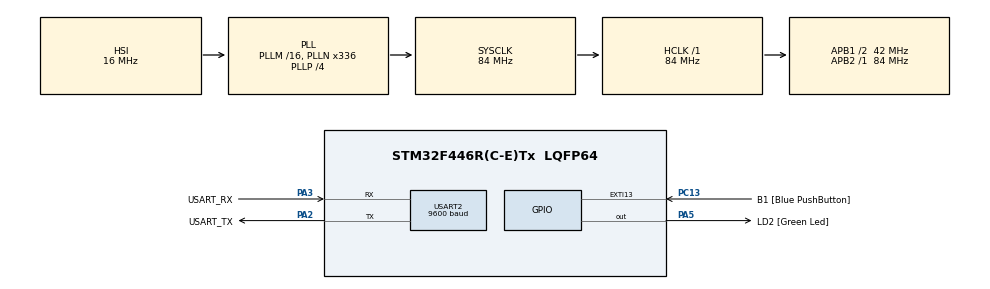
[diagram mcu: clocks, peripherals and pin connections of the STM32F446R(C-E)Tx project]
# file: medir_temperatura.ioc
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ADC1.Channel-0\#ChannelRegularConversion=ADC_CHANNEL_TEMPSENSOR
ADC1.NbrOfConversionFlag=1
ADC1.Rank-0\#ChannelRegularConversion=1
ADC1.SamplingTime-0\#ChannelRegularConversion=ADC_SAMPLETIME_3CYCLES
ADC1.master=1
FREERTOS.Tasks01=defaultTask,24,128,StartDefaultTask,Default,NULL,Dynamic,NULL,NULL
Mcu.Family=STM32F4
Mcu.Name=STM32F446R(C-E)Tx
Mcu.Package=LQFP64
NVIC.ADC_IRQn=true\:5\:0\:false\:false\:true\:true\:true\:true\:true
NVIC.PriorityGroup=NVIC_PRIORITYGROUP_4
NVIC.TIM1_UP_TIM10_IRQn=true\:15\:0\:false\:false\:true\:false\:false\:true\:true
NVIC.TimeBase=TIM1_UP_TIM10_IRQn
NVIC.TimeBaseIP=TIM1
NVIC.USART2_IRQn=true\:5\:0\:false\:false\:true\:true\:true\:true\:true
PA13.GPIO_Label=TMS
PA13.Mode=Serial_Wire
PA13.Signal=SYS_JTMS-SWDIO
PA14.GPIO_Label=TCK
PA14.Mode=Serial_Wire
PA14.Signal=SYS_JTCK-SWCLK
PA2.GPIO_Label=USART_TX
PA2.Mode=Asynchronous
PA2.Signal=USART2_TX
PA3.GPIO_Label=USART_RX
PA3.Mode=Asynchronous
PA3.Signal=USART2_RX
PA5.GPIO_Label=LD2 [Green Led]
PA5.Signal=GPIO_Output
PB3.GPIO_Label=SWO
PB3.Signal=SYS_JTDO-SWO
PC13.GPIO_Label=B1 [Blue PushButton]
PC13.GPIO_ModeDefaultEXTI=GPIO_MODE_IT_FALLING
PC13.Signal=GPXTI13
PC14-OSC32_IN.Mode=LSE-External-Oscillator
PC14-OSC32_IN.Signal=RCC_OSC32_IN
PC15-OSC32_OUT.Mode=LSE-External-Oscillator
PC15-OSC32_OUT.Signal=RCC_OSC32_OUT
PH0-OSC_IN.Mode=HSE-External-Oscillator
PH0-OSC_IN.Signal=RCC_OSC_IN
PH1-OSC_OUT.Mode=HSE-External-Oscillator
PH1-OSC_OUT.Signal=RCC_OSC_OUT
ProjectManager.HeapSize=0x200
ProjectManager.StackSize=0x400
ProjectManager.TargetToolchain=STM32CubeIDE
RCC.48MHZClocksFreq_Value=84000000
RCC.AHBFreq_Value=84000000
RCC.APB1CLKDivider=RCC_HCLK_DIV2
RCC.APB1Freq_Value=42000000
RCC.APB1TimFreq_Value=84000000
RCC.APB2Freq_Value=84000000
RCC.APB2TimFreq_Value=84000000
RCC.CortexFreq_Value=84000000
RCC.FLatency-AdvancedSettings=FLASH_LATENCY_2
RCC.HCLKFreq_Value=84000000
RCC.HSE_VALUE=8000000
RCC.HSI_VALUE=16000000
RCC.PLLN=336
RCC.PLLP=RCC_PLLP_DIV4
RCC.SYSCLKFreq_VALUE=84000000
RCC.SYSCLKSource=RCC_SYSCLKSOURCE_PLLCLK
RCC.USBFreq_Value=168000000
RCC.VCOOutputFreq_Value=336000000
USART2.BaudRate=9600
USART2.VirtualMode=VM_ASYNC
VP_ADC1_TempSens_Input.Mode=IN-TempSens
VP_FREERTOS_VS_CMSIS_V2.Mode=CMSIS_V2
VP_SYS_VS_tim1.Mode=TIM1
board=NUCLEO-F446RE

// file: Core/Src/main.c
/* USER CODE BEGIN Header */
/**
 ******************************************************************************
 * @file           : main.c
 * @brief          : Main program body
 ******************************************************************************
 * @attention
 *
 * Copyright (c) 2026 STMicroelectronics.
 * All rights reserved.
 *
 * This software is licensed under terms that can be found in the LICENSE file
 * in the root directory of this software component.
 * If no LICENSE file comes with this software, it is provided AS-IS.
 *
 ******************************************************************************
 */
/* USER CODE END Header */
#include "main.h"
#include "cmsis_os.h"

/* USER CODE BEGIN Includes */
#include <stdio.h>
#include <string.h>

#include "FreeRTOS.h"
#include "task.h"
#include "queue.h"
#include "semphr.h"
/* USER CODE END Includes */

/* USER CODE BEGIN PD */
#define LEN_COLA_MSG      (64)
#define TAMANIO_MSG_TXT   (24) // Espacio para "XX.X grados\r\n\0"
/* USER CODE END PD */

ADC_HandleTypeDef hadc1;
UART_HandleTypeDef huart2;

/* Definitions for defaultTask */
osThreadId_t defaultTaskHandle;
const osThreadAttr_t defaultTask_attributes = { .name = "defaultTask",
		.stack_size = 128 * 4, .priority = (osPriority_t) osPriorityNormal, };
/* USER CODE BEGIN PV */
/* Handles de FreeRTOS para el diseño determinístico */
TaskHandle_t xTaskProcesamientoHandle = NULL;
xQueueHandle colaTx;

// uint32_t temperatura_flag = 0;
uint32_t temperatura_dato = 0;
uint8_t enviando_uart = 0;
char dato_tx;
/* USER CODE END PV */

void SystemClock_Config(void);
static void MX_GPIO_Init(void);
static void MX_USART2_UART_Init(void);
static void MX_ADC1_Init(void);
void StartDefaultTask(void *argument);

/* USER CODE BEGIN PFP */
void tarea_muestreo(void *p);
void tarea_procesamiento(void *p);
void tarea_tx_serial(void *p);
void enviar_string_a_cola(const char *str);
float cuentas_a_temperatura(uint32_t c);
/* USER CODE END PFP */

/* USER CODE BEGIN 0 */

float cuentas_a_temperatura(uint32_t c) {
	float V25 = 0.76f;
	float AVG_SLOPE = 0.0025f;
	float tension = (((float) c) * 3.3f) / 4095.0f;
	float temperatura = ((tension - V25) / AVG_SLOPE) + 25.0f;
	return temperatura;
}

void HAL_ADC_ConvCpltCallback(ADC_HandleTypeDef *hadc) {
	if (hadc->Instance == ADC1) {
		BaseType_t xHigherPriorityTaskWoken = pdFALSE;

		temperatura_dato = HAL_ADC_GetValue(hadc);
		// temperatura_flag = 1;
		HAL_ADC_Stop_IT(hadc);

		// Sincronización asincrónica: Despierta inmediatamente a la tarea de procesamiento
		vTaskNotifyGiveFromISR(xTaskProcesamientoHandle,
				&xHigherPriorityTaskWoken);
		portEND_SWITCHING_ISR(xHigherPriorityTaskWoken);
	}
}

void enviar_string_a_cola(const char *str) {
	while (*str) {
		char c = *str;
		xQueueSend(colaTx, (uint8_t* )&c, portMAX_DELAY);
		str++;
	}
}

void tarea_muestreo(void *p) {
	TickType_t xLastWakeTime;
	const TickType_t xPeriodo = pdMS_TO_TICKS(1000); // 1 segundo = 1000 milisegundos

	xLastWakeTime = xTaskGetTickCount();

	while (1) {
		// Bloqueo en lugar de la espera del if((HAL_GetTick()-tick_adc)>=1000)
		vTaskDelayUntil(&xLastWakeTime, xPeriodo);
		HAL_GPIO_TogglePin(LD2_GPIO_Port, LD2_Pin);
		HAL_ADC_Start_IT(&hadc1);
	}
}

void tarea_procesamiento(void *p) {
	char s[TAMANIO_MSG_TXT];

	while (1) {
		ulTaskNotifyTake(pdTRUE, portMAX_DELAY);
		snprintf(s, sizeof(s) - 1, "%0.1f grados\r\n", cuentas_a_temperatura(temperatura_dato));
		enviar_string_a_cola(s);
	}
}

void tarea_tx_serial(void *p) {
	char c_out;
	while (1) {
		if (!enviando_uart) {
			if (xQueueReceive(colaTx, (uint8_t*) &c_out,
					portMAX_DELAY) == pdPASS) {
				enviando_uart = 1;
				dato_tx = c_out;
				HAL_UART_Transmit_IT(&huart2, (uint8_t*) &dato_tx,
						sizeof(dato_tx));
			}
		}
		vTaskDelay(pdMS_TO_TICKS(1));
	}
}

void HAL_UART_TxCpltCallback(UART_HandleTypeDef *huart) {
	if (huart->Instance == USART2) {
		BaseType_t llamarplanificador = pdFALSE;
		char dato;

		if (xQueueReceiveFromISR(colaTx, &dato, &llamarplanificador) == pdPASS) {
			enviando_uart = 1;
			dato_tx = dato;
			HAL_UART_Transmit_IT(&huart2, (uint8_t*) &dato_tx, sizeof(dato_tx));
		} else {
			enviando_uart = 0;
		}
		portEND_SWITCHING_ISR(llamarplanificador);
	}
}
/* USER CODE END 0 */

int main(void) {

	/* USER CODE BEGIN 1 */
	// uint32_t tick_adc;
	/* USER CODE END 1 */

	/* MCU Configuration--------------------------------------------------------*/

	/* Reset of all peripherals, Initializes the Flash interface and the Systick. */
	HAL_Init();

	/* Configure the system clock */
	SystemClock_Config();

	/* Initialize all configured peripherals */
	MX_GPIO_Init();
	MX_USART2_UART_Init();
	MX_ADC1_Init();

	/* Init scheduler */
	osKernelInitialize();

	/* USER CODE BEGIN RTOS_QUEUES */
	/* add queues, ... */
	colaTx = xQueueCreate(LEN_COLA_MSG, sizeof(char));
	/* USER CODE END RTOS_QUEUES */

	/* Create the thread(s) */
	/* creation of defaultTask */
	defaultTaskHandle = osThreadNew(StartDefaultTask, NULL,
			&defaultTask_attributes);

	/* USER CODE BEGIN RTOS_THREADS */
	/* add threads, ... */
	// Muestreo con prioridad alta para precisión temporal
	xTaskCreate(tarea_muestreo, "MUESTREO", configMINIMAL_STACK_SIZE * 2, NULL,
			tskIDLE_PRIORITY + 3, NULL);
	// Procesamiento con prioridad media (recibe el handle para la ISR del ADC)
	xTaskCreate(tarea_procesamiento, "PROCESS", configMINIMAL_STACK_SIZE * 4,
			NULL, tskIDLE_PRIORITY + 2, &xTaskProcesamientoHandle);
	// Trnasmision de UART con menor prioridad que el resto
	xTaskCreate(tarea_tx_serial, "TX_UART", configMINIMAL_STACK_SIZE * 2, NULL,
			tskIDLE_PRIORITY + 1, NULL);
	/* USER CODE END RTOS_THREADS */

	/* Start scheduler */
	osKernelStart();

	/* We should never get here as control is now taken by the scheduler */

	/* Infinite loop */
	/* USER CODE BEGIN WHILE */
	// tick_adc = HAL_GetTick();
	while (1) {
		/* USER CODE END WHILE */

		/* USER CODE BEGIN 3 */
		/*
		 if((HAL_GetTick()-tick_adc)>=1000){
		 tick_adc = HAL_GetTick();
		 HAL_GPIO_TogglePin(LD2_GPIO_Port, LD2_Pin);
		 HAL_ADC_Start_IT(&hadc1);
		 }

		 if(temperatura_flag){
		 temperatura_flag = 0;
		 char s[32];
		 snprintf(s,sizeof(s)-1,"%0.1f grados\r\n",cuentas_a_temperatura(temperatura_dato));
		 HAL_UART_Transmit(&huart2, (uint8_t*)s, strlen(s), 100);
		 }
		 */
	}
	/* USER CODE END 3 */
}

void SystemClock_Config(void) {
	RCC_OscInitTypeDef RCC_OscInitStruct = { 0 };
	RCC_ClkInitTypeDef RCC_ClkInitStruct = { 0 };

	/** Configure the main internal regulator output voltage
	 */
	__HAL_RCC_PWR_CLK_ENABLE();
	__HAL_PWR_VOLTAGESCALING_CONFIG(PWR_REGULATOR_VOLTAGE_SCALE3);

	/** Initializes the RCC Oscillators according to the specified parameters
	 * in the RCC_OscInitTypeDef structure.
	 */
	RCC_OscInitStruct.OscillatorType = RCC_OSCILLATORTYPE_HSI;
	RCC_OscInitStruct.HSIState = RCC_HSI_ON;
	RCC_OscInitStruct.HSICalibrationValue = RCC_HSICALIBRATION_DEFAULT;
	RCC_OscInitStruct.PLL.PLLState = RCC_PLL_ON;
	RCC_OscInitStruct.PLL.PLLSource = RCC_PLLSOURCE_HSI;
	RCC_OscInitStruct.PLL.PLLM = 16;
	RCC_OscInitStruct.PLL.PLLN = 336;
	RCC_OscInitStruct.PLL.PLLP = RCC_PLLP_DIV4;
	RCC_OscInitStruct.PLL.PLLQ = 2;
	RCC_OscInitStruct.PLL.PLLR = 2;
	if (HAL_RCC_OscConfig(&RCC_OscInitStruct) != HAL_OK) {
		Error_Handler();
	}

	/** Initializes the CPU, AHB and APB buses clocks
	 */
	RCC_ClkInitStruct.ClockType = RCC_CLOCKTYPE_HCLK | RCC_CLOCKTYPE_SYSCLK
			| RCC_CLOCKTYPE_PCLK1 | RCC_CLOCKTYPE_PCLK2;
	RCC_ClkInitStruct.SYSCLKSource = RCC_SYSCLKSOURCE_PLLCLK;
	RCC_ClkInitStruct.AHBCLKDivider = RCC_SYSCLK_DIV1;
	RCC_ClkInitStruct.APB1CLKDivider = RCC_HCLK_DIV2;
	RCC_ClkInitStruct.APB2CLKDivider = RCC_HCLK_DIV1;

	if (HAL_RCC_ClockConfig(&RCC_ClkInitStruct, FLASH_LATENCY_2) != HAL_OK) {
		Error_Handler();
	}
}

static void MX_ADC1_Init(void) {

	ADC_ChannelConfTypeDef sConfig = { 0 };

	/** Configure the global features of the ADC (Clock, Resolution, Data Alignment and number of conversion)
	 */
	hadc1.Instance = ADC1;
	hadc1.Init.ClockPrescaler = ADC_CLOCK_SYNC_PCLK_DIV4;
	hadc1.Init.Resolution = ADC_RESOLUTION_12B;
	hadc1.Init.ScanConvMode = DISABLE;
	hadc1.Init.ContinuousConvMode = DISABLE;
	hadc1.Init.DiscontinuousConvMode = DISABLE;
	hadc1.Init.ExternalTrigConvEdge = ADC_EXTERNALTRIGCONVEDGE_NONE;
	hadc1.Init.ExternalTrigConv = ADC_SOFTWARE_START;
	hadc1.Init.DataAlign = ADC_DATAALIGN_RIGHT;
	hadc1.Init.NbrOfConversion = 1;
	hadc1.Init.DMAContinuousRequests = DISABLE;
	hadc1.Init.EOCSelection = ADC_EOC_SINGLE_CONV;
	if (HAL_ADC_Init(&hadc1) != HAL_OK) {
		Error_Handler();
	}

	/** Configure for the selected ADC regular channel its corresponding rank in the sequencer and its sample time.
	 */
	sConfig.Channel = ADC_CHANNEL_TEMPSENSOR;
	sConfig.Rank = 1;
	sConfig.SamplingTime = ADC_SAMPLETIME_3CYCLES;
	if (HAL_ADC_ConfigChannel(&hadc1, &sConfig) != HAL_OK) {
		Error_Handler();
	}

}

static void MX_USART2_UART_Init(void) {

	huart2.Instance = USART2;
	huart2.Init.BaudRate = 9600;
	huart2.Init.WordLength = UART_WORDLENGTH_8B;
	huart2.Init.StopBits = UART_STOPBITS_1;
	huart2.Init.Parity = UART_PARITY_NONE;
	huart2.Init.Mode = UART_MODE_TX_RX;
	huart2.Init.HwFlowCtl = UART_HWCONTROL_NONE;
	huart2.Init.OverSampling = UART_OVERSAMPLING_16;
	if (HAL_UART_Init(&huart2) != HAL_OK) {
		Error_Handler();
	}

}

static void MX_GPIO_Init(void) {
	GPIO_InitTypeDef GPIO_InitStruct = { 0 };

	/* GPIO Ports Clock Enable */
	__HAL_RCC_GPIOC_CLK_ENABLE();
	__HAL_RCC_GPIOH_CLK_ENABLE();
	__HAL_RCC_GPIOA_CLK_ENABLE();
	__HAL_RCC_GPIOB_CLK_ENABLE();

	/*Configure GPIO pin Output Level */
	HAL_GPIO_WritePin(LD2_GPIO_Port, LD2_Pin, GPIO_PIN_RESET);

	/*Configure GPIO pin : B1_Pin */
	GPIO_InitStruct.Pin = B1_Pin;
	GPIO_InitStruct.Mode = GPIO_MODE_IT_FALLING;
	GPIO_InitStruct.Pull = GPIO_NOPULL;
	HAL_GPIO_Init(B1_GPIO_Port, &GPIO_InitStruct);

	/*Configure GPIO pin : LD2_Pin */
	GPIO_InitStruct.Pin = LD2_Pin;
	GPIO_InitStruct.Mode = GPIO_MODE_OUTPUT_PP;
	GPIO_InitStruct.Pull = GPIO_NOPULL;
	GPIO_InitStruct.Speed = GPIO_SPEED_FREQ_LOW;
	HAL_GPIO_Init(LD2_GPIO_Port, &GPIO_InitStruct);

}

void StartDefaultTask(void *argument) {
	for (;;) {
		osDelay(1);
	}
}

void HAL_TIM_PeriodElapsedCallback(TIM_HandleTypeDef *htim) {
	if (htim->Instance == TIM1) {
		HAL_IncTick();
	}
}

void Error_Handler(void) {
	__disable_irq();
	while (1) {
	}
}
